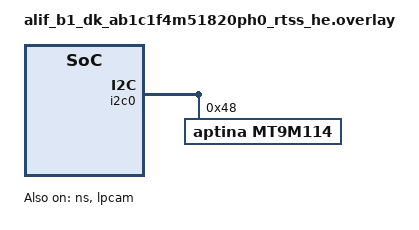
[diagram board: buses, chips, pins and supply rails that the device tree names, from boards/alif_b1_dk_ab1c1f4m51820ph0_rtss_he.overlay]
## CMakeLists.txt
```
cmake_minimum_required(VERSION 3.20.0)

find_package(Zephyr REQUIRED HINTS $ENV{ZEPHYR_BASE})
project(video)

target_sources(app PRIVATE
	src/main.c
	src/video_api.c
	src/video_common.c
)

# OV5640-only suite: omitted entirely on MT9M114 / ARX3A0 builds so those
# boards never see skipped ov5640_* tests in the ztest summary.
if(CONFIG_DT_HAS_OVTI_OV5640_ENABLED)
	target_sources(app PRIVATE src/video_test_ov5640.c)
endif()
```

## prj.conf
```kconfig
CONFIG_ZTEST=y
CONFIG_POLL=y
CONFIG_VIDEO=y
CONFIG_LOG=y
CONFIG_PRINTK=y
CONFIG_STDOUT_CONSOLE=y
CONFIG_I2C_TARGET=y
CONFIG_I2C=y
CONFIG_I2C_DW_CLOCK_SPEED=100
CONFIG_SYS_HEAP_AUTO=y
CONFIG_VIDEO_LOG_LEVEL_DBG=n
```

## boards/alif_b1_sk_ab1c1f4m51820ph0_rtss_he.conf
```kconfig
#CONFIG_VIDEO_BUFFER_POOL_SZ_MAX=524288
#CONFIG_VIDEO_BUFFER_POOL_SZ_MAX=655360
CONFIG_VIDEO_BUFFER_POOL_SZ_MAX=262144
CONFIG_VIDEO_BUFFER_POOL_NUM_MAX=2
CONFIG_REGULATOR=y
CONFIG_REGULATOR_FIXED=y
```

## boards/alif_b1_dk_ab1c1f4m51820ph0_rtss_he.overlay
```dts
/* Copyright (C) 2026 Alif Semiconductor - All Rights Reserved.
 * Use, distribution and modification of this code is permitted under the
 * terms stated in the Alif Semiconductor Software License Agreement
 *
 * You should have received a copy of the Alif Semiconductor Software
 * License Agreement with this file. If not, please write to:
 * contact@alifsemi.com, or visit: https://alifsemi.com/license
 *
 */

#include <dt-bindings/pinctrl/balletto-pinctrl.h>
#include <dt-bindings/i2c/i2c.h>
#include <dt-bindings/gpio/gpio.h>
#include <dt-bindings/video/video-interfaces.h>

&ns {
	status = "okay";
	reg = <0x2002a000 DT_SIZE_K(768)>;
};

&i2c0 {
	status = "okay";

	mt9m114: mt9m114@48{
		compatible = "aptina,mt9m114";
		reg = <0x48>;
		status = "okay";

		port {
			mt9m114_ep_out: endpoint {
				bus-type = <VIDEO_BUS_TYPE_PARALLEL>;
				remote-endpoint-label = "lpcam_ep_in";
			};
		};
	};
};

&lpcam {
	status = "okay";
	cpi-interface = "parallel";
	ports {
		#address-cells = <1>;
		#size-cells = <0>;

		/* Camera Input Endpoint. For LP-CAM it is only camera */
		port@0 {
			reg = <0>;
			lpcam_ep_in: endpoint {
				remote-endpoint-label = "mt9m114_ep_out";
			};
		};

		/* Video buffer output endpoint. */
		port@1 {
			reg = <1>;
			cam_mem_ep_out: endpoint {
				remote-endpoint-label = "application";
			};
		};


	};
};
```

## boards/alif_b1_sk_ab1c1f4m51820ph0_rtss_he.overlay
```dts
/*
 * Copyright (C) Alif Semiconductor.
 * SPDX-License-Identifier: Apache-2.0
 */

#include <dt-bindings/pinctrl/balletto-pinctrl.h>
#include <dt-bindings/i2c/i2c.h>
#include <dt-bindings/gpio/gpio.h>
#include <dt-bindings/video/video-interfaces.h>

&ns {
	status = "okay";
};

&gpio1 {
	status = "okay";
};

&lpgpio {
	status = "okay";
};

&i2c1 {
	status = "okay";

	ov5640: ov5640@3c {
		compatible = "ovti,ov5640";
		reg = <0x3c>;
		status = "okay";
		reset-gpios = <&lpgpio 1 GPIO_ACTIVE_LOW>;
		powerdown-gpios = <&gpio1 3 GPIO_ACTIVE_HIGH>;

		port {
			lpcam_ep_out: endpoint {
				bus-type = <VIDEO_BUS_TYPE_PARALLEL>;
				remote-endpoint-label = "lpcam_ep_in";
			};
		};
	};
};

&lpcam {
	status = "okay";
	cpi-interface = "parallel";
	ports {
		#address-cells = <1>;
		#size-cells = <0>;

		/* Camera Input Endpoint. For LP-CAM it is only camera */
		port@0 {
			reg = <0>;
			lpcam_ep_in: endpoint {
				remote-endpoint-label = "lpcam_ep_out";
			};
		};

		/* Video buffer output endpoint. */
		port@1 {
			reg = <1>;
			cam_mem_ep_out: endpoint {
				remote-endpoint-label = "application";
			};
		};


	};
};
```

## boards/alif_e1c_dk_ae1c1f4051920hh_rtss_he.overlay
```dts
/* Copyright (C) 2026 Alif Semiconductor - All Rights Reserved.
 * Use, distribution and modification of this code is permitted under the
 * terms stated in the Alif Semiconductor Software License Agreement
 *
 * You should have received a copy of the Alif Semiconductor Software
 * License Agreement with this file. If not, please write to:
 * contact@alifsemi.com, or visit: https://alifsemi.com/license
 *
 */

#include <dt-bindings/pinctrl/balletto-pinctrl.h>
#include <dt-bindings/i2c/i2c.h>
#include <dt-bindings/gpio/gpio.h>
#include <dt-bindings/video/video-interfaces.h>

&ns {
	status = "okay";
};

&i2c0 {
	status = "okay";

	mt9m114: mt9m114@48{
		compatible = "aptina,mt9m114";
		reg = <0x48>;
		status = "okay";

		port {
			mt9m114_ep_out: endpoint {
				bus-type = <VIDEO_BUS_TYPE_PARALLEL>;
				remote-endpoint-label = "lpcam_ep_in";
			};
		};
	};
};

&lpcam {
	status = "okay";
	sensor = <&mt9m114>;
	ports {
		#address-cells = <1>;
		#size-cells = <0>;

		/* Camera Input Endpoint. For LP-CAM it is only camera */
		port@0 {
			reg = <0>;
			lpcam_ep_in: endpoint {
				remote-endpoint-label = "mt9m114_ep_out";
			};
		};

		/* Video buffer output endpoint. */
		port@1 {
			reg = <1>;
			cam_mem_ep_out: endpoint {
				remote-endpoint-label = "application";
			};
		};


	};
};
```

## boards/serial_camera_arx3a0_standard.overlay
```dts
/* Copyright (C) 2025 Alif Semiconductor - All Rights Reserved.
 * Use, distribution and modification of this code are permitted under the
 * terms stated in the Alif Semiconductor Software License Agreement.
 *
 * You should have received a copy of the Alif Semiconductor Software
 * License Agreement with this file. If not, please write to:
 * contact@alifsemi.com, or visit: https://alifsemi.com/license
 */

#include <dt-bindings/pinctrl/ensemble-pinctrl.h>
#include <dt-bindings/i2c/i2c.h>
#include <dt-bindings/gpio/gpio.h>
#include <dt-bindings/video/video-interfaces.h>

&i2c1 {
	status = "okay";
};

&gpio7 {
	status = "okay";
};

&gpio13 {
	status = "okay";
};

&gpio14 {
	status = "okay";
};

/{
	i2c_mux: i2c-mux {
		compatible = "gpio-i2c-mux";
		status = "okay";
		#address-cells = <1>;
		#size-cells = <0>;

		i2c-inst = <&i2c1>;

		ctrl-gpios = <&gpio14 3 GPIO_ACTIVE_HIGH>;

		mux_i2c@1 {
			compatible = "gpio-i2c-mux-channel";
			reg = <1>;

			#address-cells = <1>;
			#size-cells = <0>;

			arx3a0_standard: arx3a0_standard@36 {
				compatible = "onnn,arx3a0";
				reg = <0x36>;

				reset-gpios = <&gpio13 0 GPIO_ACTIVE_HIGH>;
				power-gpios = <&gpio7 5 GPIO_ACTIVE_HIGH>;

				status = "okay";

				port {
					arx3a0_csi2_ep_out1: endpoint {
						bus-type = <VIDEO_BUS_TYPE_CSI2_DPHY>;
						link-frequencies = < 400000000 >;
						data-lanes = <1 2>;
						clock-lane = <0>;

						remote-endpoint-label = "csi2_ep_in1";
					};
				};
			};
		};
	};
};

&cam {
	status = "okay";

	pinctrl-0 = <&pinctrl_cam_xvclk>;
	pinctrl-names = "default";

	ports {
		#address-cells = <1>;
		#size-cells = <0>;

		/* MIPI CSI-2 bus endpoint. */
		port@0 {
			reg = <0>;
			cam_csi2_ep_in: endpoint {
				remote-endpoint-label = "csi2_ep_out";
			};
		};

		/* Video buffer output endpoint. */
		port@1 {
			reg = <1>;
			cam_mem_ep_out: endpoint {
				remote-endpoint-label = "application";
			};
		};
	};
};

&csi {
	status = "okay";

	/* Standard camera D-PHY*/
	phy-if = <&dphy 1>;
	ports {
		#address-cells = <1>;
		#size-cells = <0>;
		port@1 {
			reg = <1>;
			csi2_ep_in1: endpoint {
				bus-type = <VIDEO_BUS_TYPE_CSI2_DPHY>;
				data-lanes = <1 2>;
				clock-lane = <0>;

				remote-endpoint-label = "arx3a0_csi2_ep_out1";
			};
		};
		port@2 {
			reg = <2>;
			csi2_ep_out: endpoint {
				remote-endpoint-label = "cam_csi2_ep_in";
				bus-type = <VIDEO_BUS_TYPE_PARALLEL>;
			};
		};
	};
};

&mipi_dsi {
	status = "okay";
};
&mw405 {
	status = "disabled";
};
```

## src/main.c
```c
/*
 * Copyright (C) Alif Semiconductor.
 * SPDX-License-Identifier: Apache-2.0
 */

#include <soc_common.h>
#include <se_service.h>
#include <zephyr/drivers/gpio.h>

#include <string.h>

#include "video_common.h"

#ifdef CONFIG_DT_HAS_HIMAX_HM0360_ENABLED
#include <zephyr/drivers/regulator.h>
#include <zephyr/drivers/video/hm0360-video-controls.h>
#endif /* CONFIG_DT_HAS_HIMAX_HM0360_ENABLED */

#ifdef CONFIG_POLL
struct k_thread signal_thread;
struct k_poll_signal signal;
struct k_poll_event event;

#define STACKSIZE 1024
K_THREAD_STACK_DEFINE(thread_stack, 1024);
#endif
LOG_MODULE_REGISTER(video_app, LOG_LEVEL_INF);
const struct device *video;

#if (CONFIG_VIDEO_ALIF_CAM_EXTENDED && CONFIG_VIDEO_MIPI_CSI2_DW)
uint8_t current_sensor_main;
#endif /* CONFIG_VIDEO_ALIF_CAM_EXTENDED */

#if ISP_ENABLED
enum logging_level {
	LOGGING_LEVEL_NONE = 0,
	LOGGING_LEVEL_ERR,
	LOGGING_LEVEL_WARN,
	LOGGING_LEVEL_INFO,
	LOGGING_LEVEL_DEBUG,
	LOGGING_LEVEL_VERBOSE,
};

#define LIB_LOG_LEVEL LOGGING_LEVEL_NONE

int log_level(void)
{
	return LIB_LOG_LEVEL;
}
#endif

/*
 * Test Case to Capture Image
 */

ZTEST(cpi_manual_testcase, video_test_image_capture)
{
	struct video_buffer *buffers[CONFIG_VIDEO_BUFFER_POOL_NUM_MAX], *vbuf;
	struct video_format fmt = { 0 };
	struct video_caps caps[NUM_CAMS];
	enum video_endpoint_id ep;
	unsigned int frame = 0;
	size_t bsize;
	int i;
	int ret;
	int loop_ctr;

	/* `video` is acquired and validated by manual_suite_before(). */
	TC_PRINT("- Device name: %s\n", video->name);
	for (loop_ctr = NUM_CAMS - 1; loop_ctr >= 0; loop_ctr--) {
		/* Reset per-camera iteration state: format accumulator and
		 * the caps-walk index must not leak across cameras, else the
		 * second pass would skip formats or walk past the end.
		 */
		i = 0;
		memset(&fmt, 0, sizeof(fmt));
#if (CONFIG_VIDEO_ALIF_CAM_EXTENDED && CONFIG_VIDEO_MIPI_CSI2_DW)
		ret = video_get_ctrl(video, VIDEO_CID_ALIF_CSI_CURR_CAM, &current_sensor_main);
		zassert_equal(ret, 0, "Failed to get current camera: %d", ret);
		LOG_INF("Selected camera: %s", (current_sensor_main) ? "Standard" : "Selfie");
#endif /* CONFIG_VIDEO_ALIF_CAM_EXTENDED */
		ep = CAPTURE_EP;
	/* Get capabilities error check*/
	zassert_false(video_get_caps(video, ep, &caps[loop_ctr]),
					"Unable to retrieve video capabilities");

	TC_PRINT("- Capabilities:\n");
	while (caps[loop_ctr].format_caps[i].pixelformat) {
		const struct video_format_cap *fcap = &caps[loop_ctr].format_caps[i];
		/* fourcc to string */
		TC_PRINT("  %c%c%c%c width (min, max, step)[%u; %u; %u] "
			"height (min, max, step)[%u; %u; %u]\n",
		       (char)fcap->pixelformat,
		       (char)(fcap->pixelformat >> 8),
		       (char)(fcap->pixelformat >> 16),
		       (char)(fcap->pixelformat >> 24),
		       fcap->width_min, fcap->width_max, fcap->width_step,
		       fcap->height_min, fcap->height_max, fcap->height_step);

		if (fcap->pixelformat == PIPELINE_FORMAT) {
			fmt.pixelformat = PIPELINE_FORMAT;
#ifdef CONFIG_DT_HAS_OVTI_OV5640_ENABLED
			fmt.width = SENSOR_WIDTH;
			fmt.height = SENSOR_HEIGHT;
#else
			fmt.width = fcap->width_min;
			fmt.height = fcap->height_min;
#endif
			fmt.pitch = fourcc_to_pitch(fmt.pixelformat, fmt.width);
		}
		i++;
	}

	zassert_not_equal(fmt.pixelformat, 0, "Desired Pixel format is not supported.");
	ret = video_set_capture_format(video, &fmt);
	zassert_equal(ret, 0, "video_set_capture_format failed: %d", ret);
#if (CONFIG_VIDEO_ALIF_CAM_EXTENDED && CONFIG_VIDEO_MIPI_CSI2_DW)
		if (NUM_CAMS > 1) {
			current_sensor_main ^= 1;
			ret = video_set_ctrl(video, VIDEO_CID_ALIF_CSI_CURR_CAM,
					&current_sensor_main);
			if (ret) {
				LOG_ERR("Unable to switch camera!");
			}
		}
#endif /* CONFIG_VIDEO_ALIF_CAM_EXTENDED */
	}
#if (ISP_ENABLED)
	zassert_false(fmt.pixelformat != OUTPUT_FORMAT, "Unsupported pixel format. fmt - %c%c%c%c",
		(char)fmt.pixelformat,
		(char)(fmt.pixelformat >> 8),
		(char)(fmt.pixelformat >> 16),
		(char)(fmt.pixelformat >> 24));
#else
	zassert_false(fmt.pixelformat != PIPELINE_FORMAT, "Unsupported pixel format. fmt "
		" - %c%c%c%c",
		(char)fmt.pixelformat,
		(char)(fmt.pixelformat >> 8),
		(char)(fmt.pixelformat >> 16),
		(char)(fmt.pixelformat >> 24));
#endif
	TC_PRINT("- format: %c%c%c%c %ux%u\n", (char)fmt.pixelformat,
	       (char)(fmt.pixelformat >> 8),
	       (char)(fmt.pixelformat >> 16),
	       (char)(fmt.pixelformat >> 24),
	       fmt.width, fmt.height);

	/* Size to allocate for each buffer */

	bsize = fmt.pitch * fmt.height;
	TC_PRINT("Width - %d, Pitch - %d, Height - %d, Buff size - %d\n",
			fmt.width, fmt.pitch, fmt.height, bsize);

#if (CONFIG_VIDEO_ALIF_CAM_EXTENDED && CONFIG_VIDEO_MIPI_CSI2_DW)
		if (NUM_CAMS > 1) {
			current_sensor_main = 0;
			ret = video_set_ctrl(video, VIDEO_CID_ALIF_CSI_CURR_CAM,
					&current_sensor_main);
			if (ret) {
				LOG_ERR("Unable to switch camera!");
			}
		}
#endif /* CONFIG_VIDEO_ALIF_CAM_EXTENDED */

	/* Alloc video buffers and enqueue for capture */

	for (i = 0; i < ARRAY_SIZE(buffers); i++) {
		buffers[i] = video_buffer_aligned_alloc(bsize,
			CONFIG_VIDEO_BUFFER_POOL_ALIGN, K_NO_WAIT);
		zassert_not_null(buffers[i],
				"Unable to alloc video buffer %d", i);

		/* Allocated Buffer Information */

		TC_PRINT("- addr - 0x%x, size - %d, bytesused - %d\n",
			(uint32_t)buffers[i]->buffer,
			bsize,
			buffers[i]->bytesused);
		memset(buffers[i]->buffer, 0, sizeof(char) * bsize);
		ret = video_enqueue(video, VIDEO_EP_OUT, buffers[i]);
		zassert_equal(ret, 0, "video_enqueue buf %d failed: %d", i, ret);
		TC_PRINT("capture buffer[%d]: dump binary memory "
			"\"/home/$USER/path/capture_%d.bin\" 0x%08x 0x%08x -r\n\n",
			i, i, (uint32_t)buffers[i]->buffer,
			(uint32_t)buffers[i]->buffer + bsize - 1);
	}

	/* Start video capture */

	ret = video_stream_start(video);
	zassert_equal(ret, 0, "video_stream_start failed: %d", ret);
	TC_PRINT("Capture started\n");
	for (int f = 0; f < 1; f++) {
		ret = video_dequeue(video, VIDEO_EP_OUT, &vbuf, K_FOREVER);
		zassert_equal(ret, 0, "video_dequeue failed: %d", ret);
		TC_PRINT("\rGot frame %u! size: %u; timestamp %u ms\n",
		       frame++, vbuf->bytesused, vbuf->timestamp);
		zassert_true(vbuf->bytesused > 0,
			"bytesused is 0 — frame is empty");
		zassert_equal(vbuf->bytesused, bsize,
			"bytesused %u != expected bsize %u",
			vbuf->bytesused, (uint32_t)bsize);
		ret = video_enqueue(video, VIDEO_EP_OUT, vbuf);
		zassert_equal(ret, 0, "video_enqueue (re) failed: %d", ret);
	}

	k_msleep(10);

	LOG_INF("Calling video flush.");
	ret = video_flush(video, VIDEO_EP_OUT, false);
	zassert_equal(ret, 0, "video_flush failed: %d", ret);
	LOG_INF("Calling video stream stop.");
	ret = video_stream_stop(video);
	zassert_equal(ret, 0, "video_stream_stop failed: %d", ret);

	/*
	 * Drain any buffers left in the driver fifos and return them to the
	 * pool. Called with cancel=false, which per the Zephyr video API
	 * means "wait for completion" rather than "abort" — relying on the
	 * Alif CPI flush implementation draining fifo_in → fifo_out
	 * synchronously so the K_NO_WAIT dequeue loop below sees every
	 * buffer.
	 */
	for (i = 0; i < ARRAY_SIZE(buffers); i++) {
		struct video_buffer *drained = NULL;

		ret = video_dequeue(video, VIDEO_EP_OUT, &drained, K_NO_WAIT);
		zassert_equal(ret, 0, "video_dequeue failed: %d", ret);
		if (drained) {
			video_buffer_release(drained);
		}
	}
	k_msleep(500);
}

#ifdef CONFIG_POLL

void test_signal_thread(void *arg1, void *arg2, void *arg3)
{
	int signaled, result;

	k_poll_event_init(&event, K_POLL_TYPE_SIGNAL, K_POLL_MODE_NOTIFY_ONLY, &signal);
	while (1) {
		k_poll(&event, 1, K_FOREVER);
		k_poll_signal_check(&signal, &signaled, &result);
		if (signaled) {
			switch (result) {
			case VIDEO_BUF_DONE:
				LOG_INF("Buffer captured correctly!");
				break;
			case VIDEO_BUF_ABORTED:
				LOG_INF("Flush operation with Abort completed successfully!");
				break;
			case VIDEO_BUF_ERROR:
				LOG_ERR("Issues with currently captured buffer. Will recapture. "
						"If problem persists, check timings!");
				break;
			}
			k_poll_signal_reset(&signal);
		}
	}
}
#endif

/* video_api_set_signal
 */
ZTEST(cpi_manual_testcase, video_api_set_signal)
{
	struct video_caps caps;
#ifdef CONFIG_POLL
	int ret;
#endif

	/* `video` is acquired and validated by manual_suite_before(). */
	TC_PRINT("- Device name: %s\n", video->name);
#ifdef CONFIG_POLL
	k_poll_signal_init(&signal);
	ret = video_set_signal(video, VIDEO_EP_OUT, &signal);
	zassert_equal(ret, 0, "Failed to set signal");
	k_thread_create(&signal_thread, thread_stack,
					K_THREAD_STACK_SIZEOF(thread_stack), test_signal_thread,
					NULL, NULL, NULL, 7, 0, K_NO_WAIT);
#endif
	/* Get capabilities error check*/
	zassert_false(video_get_caps(video, VIDEO_EP_OUT, &caps),
					"Unable to retrieve video capabilities");
}


/*
 * Test: capture N_FRAMES frames and verify each has non-zero bytesused
 * and monotonically non-decreasing timestamps.
 */
ZTEST(cpi_manual_testcase, video_z_capture_n_frames)
{
	struct video_buffer *buffers_z[CONFIG_VIDEO_BUFFER_POOL_NUM_MAX], *vbuf;
	struct video_format fmt = { 0 };
	struct video_caps caps;
	enum video_endpoint_id ep;
	size_t bsize;
	int i = 0;
	int ret;
	uint32_t prev_ts = 0;
	unsigned int frame = 0;

	/* `video` is acquired and validated by manual_suite_before(). */
	TC_PRINT("- Device name: %s\n", video->name);
	ep = CAPTURE_EP;

#if (CONFIG_VIDEO_ALIF_CAM_EXTENDED && CONFIG_VIDEO_MIPI_CSI2_DW)
		ret = video_get_ctrl(video, VIDEO_CID_ALIF_CSI_CURR_CAM, &current_sensor_main);
		zassert_equal(ret, 0,
				"video_get_ctrl(VIDEO_CID_ALIF_CSI_CURR_CAM) failed: %d", ret);
		LOG_INF("Selected camera: %s", (current_sensor_main) ? "Standard" : "Selfie");
#endif /* CONFIG_VIDEO_ALIF_CAM_EXTENDED */

	zassert_false(video_get_caps(video, ep, &caps),
		"Unable to retrieve video capabilities");

	while (caps.format_caps[i].pixelformat) {
		const struct video_format_cap *fcap = &caps.format_caps[i];

		if (fcap->pixelformat == PIPELINE_FORMAT) {
			fmt.pixelformat = PIPELINE_FORMAT;
#ifdef CONFIG_DT_HAS_OVTI_OV5640_ENABLED
			fmt.width = SENSOR_WIDTH;
			fmt.height = SENSOR_HEIGHT;
#else
			fmt.width = fcap->width_min;
			fmt.height = fcap->height_min;
#endif
			fmt.pitch = fourcc_to_pitch(fmt.pixelformat, fmt.width);
		}
		i++;
	}
	zassert_not_equal(fmt.pixelformat, 0, "Desired pixel format not supported.");

	ret = video_set_capture_format(video, &fmt);
	zassert_equal(ret, 0, "video_set_capture_format failed: %d", ret);

#if (CONFIG_VIDEO_ALIF_CAM_EXTENDED && CONFIG_VIDEO_MIPI_CSI2_DW)
		if (NUM_CAMS > 1) {
			current_sensor_main ^= 1;
			ret = video_set_ctrl(video, VIDEO_CID_ALIF_CSI_CURR_CAM,
					&current_sensor_main);
			if (ret) {
				LOG_ERR("Unable to switch camera!");
			}
		}
#endif /* CONFIG_VIDEO_ALIF_CAM_EXTENDED */
#if (ISP_ENABLED)
	zassert_false(fmt.pixelformat != OUTPUT_FORMAT, "Unsupported pixel format. fmt - %c%c%c%c",
		(char)fmt.pixelformat,
		(char)(fmt.pixelformat >> 8),
		(char)(fmt.pixelformat >> 16),
		(char)(fmt.pixelformat >> 24));
#else
	zassert_false(fmt.pixelformat != PIPELINE_FORMAT, "Unsupported pixel format. fmt "
		" - %c%c%c%c",
		(char)fmt.pixelformat,
		(char)(fmt.pixelformat >> 8),
		(char)(fmt.pixelformat >> 16),
		(char)(fmt.pixelformat >> 24));
#endif
	TC_PRINT("- format: %c%c%c%c %ux%u\n", (char)fmt.pixelformat,
	       (char)(fmt.pixelformat >> 8),
	       (char)(fmt.pixelformat >> 16),
	       (char)(fmt.pixelformat >> 24),
	       fmt.width, fmt.height);

	/* Size to allocate for each buffer */

	bsize = fmt.pitch * fmt.height;
	TC_PRINT("Width - %d, Pitch - %d, Height - %d, Buff size - %d\n",
			fmt.width, fmt.pitch, fmt.height, bsize);

#if (CONFIG_VIDEO_ALIF_CAM_EXTENDED && CONFIG_VIDEO_MIPI_CSI2_DW)
		if (NUM_CAMS > 1) {
			current_sensor_main = 0;
			ret = video_set_ctrl(video, VIDEO_CID_ALIF_CSI_CURR_CAM,
					&current_sensor_main);
			if (ret) {
				LOG_ERR("Unable to switch camera!");
			}
		}
#endif /* CONFIG_VIDEO_ALIF_CAM_EXTENDED */
	/* Alloc video buffers and enqueue for capture */

	for (i = 0; i < ARRAY_SIZE(buffers_z); i++) {
		buffers_z[i] = video_buffer_aligned_alloc(bsize,
				CONFIG_VIDEO_BUFFER_POOL_ALIGN, K_NO_WAIT);
		zassert_not_null(buffers_z[i], "Unable to alloc video buffer %d", i);

		/* Allocated Buffer Information */
		LOG_INF("- addr - 0x%x, size - %d, bytesused - %d",
			(uint32_t)buffers_z[i]->buffer,
			bsize,
			buffers_z[i]->bytesused);

		memset(buffers_z[i]->buffer, 0, bsize);
		ret = video_enqueue(video, VIDEO_EP_OUT, buffers_z[i]);
		zassert_equal(ret, 0, "Enqueue failed for buffer %d: %d", i, ret);
	}

	ret = video_stream_start(video);
	zassert_equal(ret, 0, "stream_start failed: %d", ret);
	TC_PRINT("Capture started — expecting %d frames\n", N_FRAMES);

	for (int f = 0; f < N_FRAMES; f++) {
		ret = video_dequeue(video, VIDEO_EP_OUT, &vbuf, K_FOREVER);
		zassert_equal(ret, 0, "dequeue failed at frame %d: %d", f, ret);

		TC_PRINT("Frame %u: bytesused=%u timestamp=%u ms\n",
			frame, vbuf->bytesused, vbuf->timestamp);

		zassert_true(vbuf->bytesused > 0,
			"Frame %d: bytesused is 0 (empty frame)", f);
		zassert_true(vbuf->timestamp >= prev_ts,
			"Frame %d: non-monotonic timestamp %u < prev %u",
			f, vbuf->timestamp, prev_ts);

		prev_ts = vbuf->timestamp;
		frame++;

		ret = video_enqueue(video, VIDEO_EP_OUT, vbuf);
		zassert_equal(ret, 0, "Re-enqueue failed at frame %d: %d", f, ret);
	}

	TC_PRINT("All %d frames captured successfully\n", N_FRAMES);
	k_msleep(10);

	ret = video_stream_stop(video);
	zassert_equal(ret, 0, "video_stream_stop failed: %d", ret);
	ret = video_flush(video, VIDEO_EP_OUT, false);
	zassert_equal(ret, 0, "video_flush failed: %d", ret);

	for (i = 0; i < ARRAY_SIZE(buffers_z); i++) {
		struct video_buffer *drained = NULL;

		ret = video_dequeue(video, VIDEO_EP_OUT, &drained, K_NO_WAIT);
		zassert_equal(ret, 0,
			"Cleanup dequeue failed at buf %d: %d", i, ret);
		zassert_not_null(drained,
			"Cleanup dequeue returned NULL buffer at %d", i);
		video_buffer_release(drained);
	}
}

/*
 * Do application configurations.
 */
static int app_set_parameters(void)
{
	run_profile_t runp;
	int ret;

#if (CONFIG_VIDEO_MIPI_CSI2_DW)
#if (DT_NODE_HAS_STATUS(DT_NODELABEL(camera_select), okay))
	const struct gpio_dt_spec sel =
		GPIO_DT_SPEC_GET(DT_NODELABEL(camera_select), select_gpios);

	gpio_pin_configure_dt(&sel, GPIO_OUTPUT);
	gpio_pin_set_dt(&sel, 1);
#endif /* DT_NODE_HAS_STATUS(DT_NODELABEL(camera_sensor), okay) */
#endif

	/* Enable HFOSC (38.4 MHz) and CFG (100 MHz) clock. */
#if defined(CONFIG_SOC_SERIES_E8)
	sys_set_bits(CGU_CLK_ENA, BIT(23) | BIT(7));
#else
	sys_set_bits(CGU_CLK_ENA, BIT(23) | BIT(21));
#endif /* defined (CONFIG_SOC_SERIES_E7) */

	runp.power_domains = PD_SYST_MASK | PD_SSE700_AON_MASK | PD_DBSS_MASK;
	runp.dcdc_voltage  = 825;
	runp.dcdc_mode     = DCDC_MODE_PWM;
	runp.aon_clk_src   = CLK_SRC_LFXO;
	runp.run_clk_src   = CLK_SRC_PLL;
	runp.vdd_ioflex_3V3 = IOFLEX_LEVEL_1V8;
#if defined(CONFIG_RTSS_HP)
	runp.cpu_clk_freq  = CLOCK_FREQUENCY_400MHZ;
#else
	runp.cpu_clk_freq  = CLOCK_FREQUENCY_160MHZ;
#endif

	runp.memory_blocks = MRAM_MASK;
#if DT_NODE_EXISTS(DT_NODELABEL(sram0))
	runp.memory_blocks |= SRAM0_MASK;
#endif

	runp.phy_pwr_gating |= MIPI_TX_DPHY_MASK | MIPI_RX_DPHY_MASK |
		MIPI_PLL_DPHY_MASK | LDO_PHY_MASK;
	runp.ip_clock_gating = CAMERA_MASK | MIPI_CSI_MASK | MIPI_DSI_MASK;

	ret = se_service_set_run_cfg(&runp);
	__ASSERT(ret == 0, "SE: set_run_cfg failed = %d", ret);

	/*
	 * CPI Pixel clock - Generate XVCLK. Used by ARX3A0
	 * TODO: parse this clock from DTS and set on board from camera
	 * controller driver.
	 */
#if defined(CONFIG_VIDEO_MIPI_CSI2_DW)
	sys_write32(0x140001, CLKCTRL_PER_MST_CAMERA_PIXCLK_CTRL);
#endif

#if (DT_NODE_HAS_STATUS(DT_NODELABEL(lpcam), okay))
	/* Enable LPCAM controller Pixel Clock (XVCLK). */
	/*
	 * Not needed for the time being as LP-CAM supports only
	 * parallel data-mode of capture and only MT9M114 sensor is
	 * tested with parallel data capture which generates clock
	 * internally. But can be used to generate XVCLK from LP CAM
	 * controller.
	 * sys_write32(0x140001, M55HE_CFG_HE_CAMERA_PIXCLK);
	 */
#endif
	return 0;
}


static void *cpi_manual_setup(void)
{
	cam_supply_on();
	return NULL;
}

static void cpi_manual_teardown(void *data)
{
	ARG_UNUSED(data);
	cam_supply_off();
}

ZTEST_SUITE(cpi_manual_testcase, NULL, cpi_manual_setup, manual_suite_before, NULL,
	    cpi_manual_teardown);
ZTEST_SUITE(cpi_api_testcase, NULL, api_suite_setup, manual_suite_before, NULL,
	    api_suite_teardown);

SYS_INIT(app_set_parameters, PRE_KERNEL_1, 46);
```

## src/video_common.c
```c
/* Copyright (C) 2026 Alif Semiconductor - All Rights Reserved.
 * Use, distribution and modification of this code is permitted under the
 * terms stated in the Alif Semiconductor Software License Agreement
 *
 * You should have received a copy of the Alif Semiconductor Software
 * License Agreement with this file. If not, please write to:
 * contact@alifsemi.com, or visit: https://alifsemi.com/license
 */

#include "video_common.h"

LOG_MODULE_DECLARE(video_app);

#ifdef CONFIG_DT_HAS_OVTI_OV5640_ENABLED
const struct device *cam_enbuf;
static int cam_supply_refs;
#endif

void cam_supply_on(void)
{
#ifdef CONFIG_DT_HAS_OVTI_OV5640_ENABLED
	cam_enbuf = DEVICE_DT_GET(DT_NODELABEL(cam_enbuf));
	zassert_true(device_is_ready(cam_enbuf), "%s: device not ready.",
		     cam_enbuf->name);
	zassert_equal(regulator_enable(cam_enbuf), 0,
		      "Failed to enable regulator");
	cam_supply_refs++;
#endif
}

void cam_supply_off(void)
{
#ifdef CONFIG_DT_HAS_OVTI_OV5640_ENABLED
	if (cam_supply_refs == 0 || cam_enbuf == NULL) {
		return;
	}

	/* Teardown must not zassert: a failure there aborts the runner. */
	if (regulator_disable(cam_enbuf) == 0) {
		cam_supply_refs--;
	}
#endif
}

int fourcc_to_pitch(uint32_t fourcc, uint32_t width)
{
	int pitch;

	switch (fourcc) {
	case VIDEO_PIX_FMT_RGB888_PLANAR_PRIVATE:
	case VIDEO_PIX_FMT_NV24:
	case VIDEO_PIX_FMT_NV42:
		pitch = width * 3;
		break;
	case VIDEO_PIX_FMT_RGB565:
	case VIDEO_PIX_FMT_Y10P:
	case VIDEO_PIX_FMT_BGGR10:
	case VIDEO_PIX_FMT_GBRG10:
	case VIDEO_PIX_FMT_GRBG10:
	case VIDEO_PIX_FMT_RGGB10:
	case VIDEO_PIX_FMT_BGGR12:
	case VIDEO_PIX_FMT_GBRG12:
	case VIDEO_PIX_FMT_GRBG12:
	case VIDEO_PIX_FMT_RGGB12:
	case VIDEO_PIX_FMT_BGGR14:
	case VIDEO_PIX_FMT_GBRG14:
	case VIDEO_PIX_FMT_GRBG14:
	case VIDEO_PIX_FMT_RGGB14:
	case VIDEO_PIX_FMT_BGGR16:
	case VIDEO_PIX_FMT_GBRG16:
	case VIDEO_PIX_FMT_GRBG16:
	case VIDEO_PIX_FMT_RGGB16:
	case VIDEO_PIX_FMT_Y10:
	case VIDEO_PIX_FMT_Y12:
	case VIDEO_PIX_FMT_Y14:
	case VIDEO_PIX_FMT_YUYV:
	case VIDEO_PIX_FMT_YVYU:
	case VIDEO_PIX_FMT_VYUY:
	case VIDEO_PIX_FMT_UYVY:
	case VIDEO_PIX_FMT_NV16:
	case VIDEO_PIX_FMT_NV61:
	case VIDEO_PIX_FMT_YUV422P:
		pitch = width << 1;
		break;
	case VIDEO_PIX_FMT_NV12:
	case VIDEO_PIX_FMT_NV21:
	case VIDEO_PIX_FMT_YUV420:
	case VIDEO_PIX_FMT_YVU420:
		pitch = (width * 3) >> 1;
		break;
	case VIDEO_PIX_FMT_BGGR8:
	case VIDEO_PIX_FMT_GBRG8:
	case VIDEO_PIX_FMT_GRBG8:
	case VIDEO_PIX_FMT_RGGB8:
	case VIDEO_PIX_FMT_GREY:
	default:
		pitch = width;
		break;
	}

	return pitch;
}

int video_set_capture_format(const struct device *dev, struct video_format *fmt)
{
	int ret;

	ret = video_set_format(dev, CAPTURE_EP, fmt);
	if (ret) {
		LOG_ERR("video_set_format on CAPTURE_EP (ep=%d) failed: %d",
			CAPTURE_EP, ret);
		return ret;
	}

#if ISP_ENABLED
	/* On ISP-enabled builds the application sees OUTPUT_FORMAT on EP_OUT,
	 * not the raw sensor format on EP_IN. Rewrite *fmt so the caller's
	 * buffer-size math (pitch * height) targets the ISP output, then set
	 * that format on EP_OUT.
	 */
	fmt->pixelformat = OUTPUT_FORMAT;
	fmt->width       = ISP_OUTPUT_WIDTH;
	fmt->height      = ISP_OUTPUT_HEIGHT;
	fmt->pitch       = fourcc_to_pitch(fmt->pixelformat, fmt->width);

	ret = video_set_format(dev, VIDEO_EP_OUT, fmt);
	if (ret) {
		LOG_ERR("video_set_format on VIDEO_EP_OUT failed: %d", ret);
		return ret;
	}
#endif /* ISP_ENABLED */

	return 0;
}

void manual_suite_before(void *fixture)
{
	ARG_UNUSED(fixture);
	uintptr_t regs;

#if ISP_ENABLED
	video = DEVICE_DT_GET_ONE(vsi_isp_pico);
#else
	video = DEVICE_DT_GET_ONE(alif_cam);
#endif
	zassert_true(device_is_ready(video), "%s: device not ready.", video->name);

	regs = DEVICE_MMIO_GET(video);
	if (sys_read32(regs + CAM_CTRL) & CAM_CTRL_BUSY) {
		LOG_ERR("Can't start stream. Already Capturing!");
		video_stream_stop(video);
		k_msleep(20);
	}
}
```

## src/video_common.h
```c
/* Copyright (C) 2026 Alif Semiconductor - All Rights Reserved.
 * Use, distribution and modification of this code is permitted under the
 * terms stated in the Alif Semiconductor Software License Agreement
 *
 * You should have received a copy of the Alif Semiconductor Software
 * License Agreement with this file. If not, please write to:
 * contact@alifsemi.com, or visit: https://alifsemi.com/license
 */

#ifndef ALIF_CPI_TEST_VIDEO_COMMON_H_
#define ALIF_CPI_TEST_VIDEO_COMMON_H_

#include <zephyr/kernel.h>
#include <zephyr/device.h>
#include <zephyr/drivers/video.h>
#include <zephyr/drivers/video/video_alif.h>
#include <zephyr/logging/log.h>
#include <zephyr/ztest.h>

#ifdef CONFIG_DT_HAS_OVTI_OV5640_ENABLED
#include <zephyr/drivers/regulator.h>
extern const struct device *cam_enbuf;
#endif

/* CAM controller register offsets / bits used by test suite hooks. */
#define CAM_CTRL		0x00
#define CAM_CTRL_BUSY		BIT(2)

#define N_FRAMES		10
#define N_VID_BUFF		MIN(CONFIG_VIDEO_BUFFER_POOL_NUM_MAX, N_FRAMES)

#define ISP_ENABLED		DT_NODE_HAS_STATUS_OKAY(DT_NODELABEL(isp))

/*
 * Endpoint on which the sensor/pipeline pixel format (PIPELINE_FORMAT) is
 * negotiated and configured:
 *   - Direct-CAM  (ISP disabled): sensor feeds EP_OUT directly.
 *   - ISP-enabled: sensor feeds ISP at EP_IN; EP_OUT carries OUTPUT_FORMAT.
 */
#if ISP_ENABLED
#define CAPTURE_EP		VIDEO_EP_IN
#else
#define CAPTURE_EP		VIDEO_EP_OUT
#endif

#ifdef CONFIG_DT_HAS_HIMAX_HM0360_ENABLED
#define PIPELINE_FORMAT		VIDEO_PIX_FMT_BGGR8
#elif CONFIG_DT_HAS_OVTI_OV5640_ENABLED
#define PIPELINE_FORMAT		VIDEO_PIX_FMT_RGB565
#define SENSOR_WIDTH	160
#define SENSOR_HEIGHT	120
#elif CONFIG_DT_HAS_APTINA_MT9M114_ENABLED
#define PIPELINE_FORMAT		VIDEO_PIX_FMT_GREY
#else
#define PIPELINE_FORMAT		VIDEO_PIX_FMT_Y10P
#endif

#if ISP_ENABLED
#define OUTPUT_FORMAT           VIDEO_PIX_FMT_RGB888_PLANAR_PRIVATE
/* Resolution presented to the application on VIDEO_EP_OUT when the ISP is in
 * the path. The ISP scaler down-samples the sensor frame to this size before
 * conversion to OUTPUT_FORMAT, so buffers enqueued on EP_OUT must be sized
 * for OUTPUT_FORMAT @ ISP_OUTPUT_WIDTH x ISP_OUTPUT_HEIGHT.
 */
#define ISP_OUTPUT_WIDTH        480
#define ISP_OUTPUT_HEIGHT       480
#endif

#if (CONFIG_VIDEO_ALIF_CAM_EXTENDED && CONFIG_VIDEO_MIPI_CSI2_DW)
#define NUM_CAMS		DT_PROP_LEN(DT_NODELABEL(csi), phy_if)
#else
#define NUM_CAMS		1
#endif

/* Shared device handle used by the manual test suite. */
extern const struct device *video;

/* Convert a fourcc pixel format to the pitch (bytes per row) for a given width. */
int fourcc_to_pitch(uint32_t fourcc, uint32_t width);


/**
 * Configure the capture pipeline format on the appropriate endpoint(s).
 *
 * On a direct-CAM build (ISP disabled), this calls
 *     video_set_format(dev, VIDEO_EP_OUT, fmt)
 * exactly once and leaves *fmt untouched.
 *
 * On an ISP-enabled build (e.g. arx3a0 + vsi,isp-pico), this:
 *   1. Sets the sensor / pipeline format on VIDEO_EP_IN (CAPTURE_EP),
 *   2. Rewrites *fmt in place to OUTPUT_FORMAT @ ISP_OUTPUT_WIDTH x
 *      ISP_OUTPUT_HEIGHT (with matching pitch),
 *   3. Sets that output format on VIDEO_EP_OUT.
 *
 * The in-place rewrite means callers can keep their existing
 * `bsize = fmt.pitch * fmt.height;` buffer-size math regardless of build
 * variant — `fmt` after the call always describes what EP_OUT expects.
 *
 * @param dev   video device handle (alif,cam on direct-CAM, vsi,isp-pico
 *              when the ISP is in the path).
 * @param fmt   on entry: pipeline format (PIPELINE_FORMAT, sensor-side
 *              w/h). On exit: identical on direct-CAM; OUTPUT_FORMAT
 *              dimensions on ISP-enabled builds.
 *
 * @return 0 on success, or the first non-zero return code from
 *         video_set_format().
 */
int video_set_capture_format(const struct device *dev,
			     struct video_format *fmt);

/* Suite "before" hook shared by manual + api test suites. */
void manual_suite_before(void *fixture);

/* OV5640 camera supply. One enable per suite setup, one disable per teardown.
 * No-ops when the OV5640 regulator is not in the build.
 */
void cam_supply_on(void);
void cam_supply_off(void);

/* cpi_api_testcase suite hooks (defined in video_api.c). */
void *api_suite_setup(void);
void api_suite_teardown(void *data);

#endif /* ALIF_CPI_TEST_VIDEO_COMMON_H_ */
```

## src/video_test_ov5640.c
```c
/* Copyright (C) 2026 Alif Semiconductor - All Rights Reserved.
 * Use, distribution and modification of this code is permitted under the
 * terms stated in the Alif Semiconductor Software License Agreement
 *
 * You should have received a copy of the Alif Semiconductor Software
 * License Agreement with this file. If not, please write to:
 * contact@alifsemi.com, or visit: https://alifsemi.com/license
 */

#include "video_common.h"

#include <errno.h>
#include <string.h>

#include <zephyr/drivers/video-controls.h>

/*
 * OV5640-only suite. Compiled only when CONFIG_DT_HAS_OVTI_OV5640_ENABLED
 * (see CMakeLists.txt). Other sensor builds never register these tests.
 *
 * Controls are issued on the sensor node (ov5640) so errno matches the
 * driver (alif,cam maps every set_ctrl failure to -ENOTSUP). Format is
 * programmed through the CAM pipeline so CPI FCFG stays in sync.
 *
 * set_ctrl takes the integer in the pointer bits, not a pointer-to-int:
 *     video_set_ctrl(dev, CID, (void *)value)
 */

static const struct device *ov5640_dev;

/* Buffer owned by ov5640_ctrl_test_pattern until it is released. The after
 * hook releases it when an assertion returns before the test's own cleanup.
 */
static struct video_buffer *ov5640_held;

static int ov5640_restore_default_fmt(void)
{
	struct video_format fmt = {
		.pixelformat = PIPELINE_FORMAT,
		.width = SENSOR_WIDTH,
		.height = SENSOR_HEIGHT,
		.pitch = fourcc_to_pitch(PIPELINE_FORMAT, SENSOR_WIDTH),
	};

	return video_set_capture_format(video, &fmt);
}

static void ov5640_restore_ctrls(void)
{
	(void)video_set_ctrl(ov5640_dev, VIDEO_CID_HFLIP, (void *)0);
	(void)video_set_ctrl(ov5640_dev, VIDEO_CID_VFLIP, (void *)0);
	(void)video_set_ctrl(ov5640_dev, VIDEO_CID_TEST_PATTERN, (void *)0);
	(void)video_set_ctrl(ov5640_dev, VIDEO_CID_BRIGHTNESS, (void *)0);
	(void)video_set_ctrl(ov5640_dev, VIDEO_CID_CONTRAST, (void *)0);
	(void)video_set_ctrl(ov5640_dev, VIDEO_CID_SATURATION, (void *)64);
	(void)video_set_ctrl(ov5640_dev, VIDEO_CID_GAIN, (void *)0);
	(void)video_set_ctrl(ov5640_dev, VIDEO_CID_POWER_LINE_FREQUENCY,
			     (void *)VIDEO_CID_POWER_LINE_FREQUENCY_AUTO);
}

void *ov5640_suite_setup(void)
{
	ov5640_dev = DEVICE_DT_GET(DT_NODELABEL(ov5640));
	zassert_true(device_is_ready(ov5640_dev),
		"%s: device not ready", ov5640_dev->name);
	cam_supply_on();
	return NULL;
}

void ov5640_suite_teardown(void *data)
{
	struct video_buffer *buf = NULL;

	ARG_UNUSED(data);

	video_stream_stop(video);
	k_msleep(20);
	video_flush(video, VIDEO_EP_OUT, true);
	while (video_dequeue(video, VIDEO_EP_OUT, &buf, K_NO_WAIT) == 0) {
		video_buffer_release(buf);
		buf = NULL;
	}

	ov5640_restore_ctrls();
	(void)ov5640_restore_default_fmt();
	cam_supply_off();
}

/* Runs after every case, including a failed assertion. stream_stop is a
 * no-op when the camera is already idle.
 */
static void ov5640_test_after(void *data)
{
	struct video_buffer *buf = NULL;
	uintptr_t regs;
	bool recover;

	ARG_UNUSED(data);

	if (video == NULL || !device_is_ready(video)) {
		goto release_held;
	}

	regs = DEVICE_MMIO_GET(video);
	recover = ((sys_read32(regs + CAM_CTRL) & CAM_CTRL_BUSY) != 0) ||
		  (ov5640_held != NULL);
	if (recover) {
		(void)video_stream_stop(video);
		k_msleep(20);
		(void)video_flush(video, VIDEO_EP_OUT, true);
		while (video_dequeue(video, VIDEO_EP_OUT, &buf, K_NO_WAIT) == 0) {
			if (buf == ov5640_held) {
				ov5640_held = NULL;
			}
			video_buffer_release(buf);
			buf = NULL;
		}
	}

release_held:
	if (ov5640_held != NULL) {
		video_buffer_release(ov5640_held);
		ov5640_held = NULL;
	}
}

/* Colour bars are vertical. Samples across the middle row must not all match,
 * and a frame that is still the memset(0) from the test is a miss.
 */
static void assert_colorbar_frame(const struct video_buffer *buf, uint32_t width,
				  uint32_t pitch, uint32_t height)
{
	const uint8_t *bytes = buf->buffer;
	uint16_t sample[4];
	unsigned int unique = 0;
	bool nonzero = false;
	unsigned int i;
	unsigned int j;

	for (i = 0; i < buf->bytesused; i++) {
		if (bytes[i] != 0) {
			nonzero = true;
			break;
		}
	}
	zassert_true(nonzero, "color-bar frame is still all zeros");

	for (i = 0; i < ARRAY_SIZE(sample); i++) {
		uint32_t x = (width * ((2 * i) + 1)) / 8;
		uint32_t y = height / 2;

		memcpy(&sample[i], bytes + (y * pitch) + (x * 2), sizeof(sample[i]));
	}

	for (i = 0; i < ARRAY_SIZE(sample); i++) {
		bool seen = false;

		for (j = 0; j < i; j++) {
			if (sample[j] == sample[i]) {
				seen = true;
				break;
			}
		}
		if (!seen) {
			unique++;
		}
	}
	zassert_true(unique >= 2,
		     "color-bar samples do not differ: 0x%04x 0x%04x 0x%04x 0x%04x",
		     sample[0], sample[1], sample[2], sample[3]);
}

/* -------------------------------------------------------------------------
 * set_format + get_format for every DVP RGB565 mode
 * -------------------------------------------------------------------------
 */
ZTEST(ov5640_testcase, ov5640_set_format_all_dvp_modes)
{
	struct video_caps caps;
	struct video_format fmt = { 0 };
	struct video_format got = { 0 };
	int i = 0;
	int ret;
	int n_modes = 0;

	ret = video_get_caps(video, CAPTURE_EP, &caps);
	zassert_equal(ret, 0, "video_get_caps failed: %d", ret);

	while (caps.format_caps[i].pixelformat) {
		const struct video_format_cap *fcap = &caps.format_caps[i];

		if (fcap->pixelformat != PIPELINE_FORMAT) {
			i++;
			continue;
		}

		fmt.pixelformat = fcap->pixelformat;
		fmt.width = fcap->width_min;
		fmt.height = fcap->height_min;
		fmt.pitch = fourcc_to_pitch(fmt.pixelformat, fmt.width);

		ret = video_set_capture_format(video, &fmt);
		zassert_equal(ret, 0,
			"set_format failed for %ux%u: %d",
			fmt.width, fmt.height, ret);

		memset(&got, 0, sizeof(got));
		ret = video_get_format(video, VIDEO_EP_OUT, &got);
		zassert_equal(ret, 0,
			"get_format failed after %ux%u: %d",
			fmt.width, fmt.height, ret);
		zassert_equal(got.pixelformat, fmt.pixelformat,
			"pixelformat mismatch at %ux%u", fmt.width, fmt.height);
		zassert_equal(got.width, fmt.width,
			"width mismatch: got %u want %u", got.width, fmt.width);
		zassert_equal(got.height, fmt.height,
			"height mismatch: got %u want %u",
			got.height, fmt.height);
		zassert_equal(got.pitch, fmt.pitch,
			"pitch mismatch: got %u want %u", got.pitch, fmt.pitch);

		TC_PRINT("ov5640_set_format_all_dvp_modes: %ux%u pitch=%u OK\n",
			got.width, got.height, got.pitch);
		n_modes++;
		i++;
	}

	zassert_true(n_modes >= 1, "No DVP RGB565 modes found in caps");
	ret = ov5640_restore_default_fmt();
	zassert_equal(ret, 0, "restore default %ux%u failed: %d",
		SENSOR_WIDTH, SENSOR_HEIGHT, ret);
}

/* -------------------------------------------------------------------------
 * HFLIP / VFLIP — leave both off so later capture tests are not mirrored
 * -------------------------------------------------------------------------
 */
ZTEST(ov5640_testcase, ov5640_ctrl_hflip_vflip)
{
	int ret;

	ret = video_set_ctrl(ov5640_dev, VIDEO_CID_HFLIP, (void *)1);
	zassert_equal(ret, 0, "HFLIP on failed: %d", ret);

	ret = video_set_ctrl(ov5640_dev, VIDEO_CID_VFLIP, (void *)1);
	zassert_equal(ret, 0, "VFLIP on failed: %d", ret);

	ret = video_set_ctrl(ov5640_dev, VIDEO_CID_HFLIP, (void *)0);
	zassert_equal(ret, 0, "HFLIP off failed: %d", ret);

	ret = video_set_ctrl(ov5640_dev, VIDEO_CID_VFLIP, (void *)0);
	zassert_equal(ret, 0, "VFLIP off failed: %d", ret);

	TC_PRINT("ov5640_ctrl_hflip_vflip: on/off OK\n");
}

/* -------------------------------------------------------------------------
 * TEST_PATTERN 0..4 accepted, 5 rejected; one color-bar frame at QQVGA
 * -------------------------------------------------------------------------
 */
ZTEST(ov5640_testcase, ov5640_ctrl_test_pattern)
{
	struct video_format fmt = { 0 };
	struct video_buffer *vbuf = NULL;
	struct video_buffer *captured = NULL;
	size_t bsize;
	int ret;
	int pat;

	for (pat = 0; pat <= 4; pat++) {
		ret = video_set_ctrl(ov5640_dev, VIDEO_CID_TEST_PATTERN,
				     (void *)(uintptr_t)pat);
		zassert_equal(ret, 0, "TEST_PATTERN %d failed: %d", pat, ret);
	}

	ret = video_set_ctrl(ov5640_dev, VIDEO_CID_TEST_PATTERN, (void *)5);
	zassert_equal(ret, -EINVAL,
		"TEST_PATTERN 5 expected -EINVAL, got %d", ret);

	ret = ov5640_restore_default_fmt();
	zassert_equal(ret, 0, "restore default fmt failed: %d", ret);

	ret = video_set_ctrl(ov5640_dev, VIDEO_CID_TEST_PATTERN, (void *)1);
	zassert_equal(ret, 0, "TEST_PATTERN color-bar failed: %d", ret);

	fmt.pixelformat = PIPELINE_FORMAT;
	fmt.width = SENSOR_WIDTH;
	fmt.height = SENSOR_HEIGHT;
	fmt.pitch = fourcc_to_pitch(fmt.pixelformat, fmt.width);
	bsize = fmt.pitch * fmt.height;

	vbuf = video_buffer_aligned_alloc(bsize, CONFIG_VIDEO_BUFFER_POOL_ALIGN,
					  K_NO_WAIT);
	zassert_not_null(vbuf, "alloc failed for test-pattern frame");
	ov5640_held = vbuf;
	memset(vbuf->buffer, 0, bsize);

	ret = video_enqueue(video, VIDEO_EP_OUT, vbuf);
	zassert_equal(ret, 0, "enqueue failed: %d", ret);

	ret = video_stream_start(video);
	zassert_equal(ret, 0, "stream_start failed: %d", ret);

	ret = video_dequeue(video, VIDEO_EP_OUT, &captured, K_MSEC(2000));
	zassert_equal(ret, 0, "dequeue test-pattern frame failed: %d", ret);
	zassert_not_null(captured, "captured buffer is NULL");
	zassert_equal(captured->bytesused, bsize, "bytesused %u != bsize %u",
		captured->bytesused, (uint32_t)bsize);
	assert_colorbar_frame(captured, fmt.width, fmt.pitch, fmt.height);
	TC_PRINT("ov5640_ctrl_test_pattern: color-bar frame bytesused=%u\n",
		captured->bytesused);

	ret = video_stream_stop(video);
	zassert_equal(ret, 0, "stream_stop failed: %d", ret);
	k_msleep(20);

	video_flush(video, VIDEO_EP_OUT, true);
	if (captured) {
		video_buffer_release(captured);
		if (ov5640_held == captured) {
			ov5640_held = NULL;
		}
		captured = NULL;
	}
	while (video_dequeue(video, VIDEO_EP_OUT, &captured, K_NO_WAIT) == 0) {
		if (ov5640_held == captured) {
			ov5640_held = NULL;
		}
		video_buffer_release(captured);
		captured = NULL;
	}

	ret = video_set_ctrl(ov5640_dev, VIDEO_CID_TEST_PATTERN, (void *)0);
	zassert_equal(ret, 0, "TEST_PATTERN off failed: %d", ret);
}

/* -------------------------------------------------------------------------
 * Out-of-range / unknown CIDs — issued on the sensor so errno is real
 * -------------------------------------------------------------------------
 */
ZTEST(ov5640_testcase, ov5640_ctrl_range_reject)
{
	int ret;

	ret = video_set_ctrl(ov5640_dev, VIDEO_CID_HUE, (void *)361);
	zassert_equal(ret, -EINVAL, "HUE 361 expected -EINVAL, got %d", ret);

	ret = video_set_ctrl(ov5640_dev, VIDEO_CID_SATURATION, (void *)256);
	zassert_equal(ret, -EINVAL,
		"SATURATION 256 expected -EINVAL, got %d", ret);

	ret = video_set_ctrl(ov5640_dev, VIDEO_CID_BRIGHTNESS, (void *)256);
	zassert_equal(ret, -EINVAL,
		"BRIGHTNESS 256 expected -EINVAL, got %d", ret);

	ret = video_set_ctrl(ov5640_dev, VIDEO_CID_EXPOSURE, (void *)1);
	zassert_equal(ret, -ENOTSUP,
		"unknown CID expected -ENOTSUP, got %d", ret);

	ret = video_set_ctrl(ov5640_dev, VIDEO_CID_POWER_LINE_FREQUENCY,
			     (void *)VIDEO_CID_POWER_LINE_FREQUENCY_DISABLED);
	zassert_equal(ret, -EINVAL,
		"POWER_LINE DISABLED expected -EINVAL, got %d", ret);

	ret = video_set_ctrl(ov5640_dev, VIDEO_CID_POWER_LINE_FREQUENCY,
			(void *)99);
	zassert_equal(ret, -EINVAL,
		"POWER_LINE 99 expected -EINVAL, got %d", ret);

	TC_PRINT("ov5640_ctrl_range_reject: OK\n");
}

/* -------------------------------------------------------------------------
 * In-range image-adjust CIDs (I2C happy path). Hue is skipped: it uses
 * libm/double. Restore AEC auto (gain 0) and AUTO flicker at the end.
 * -------------------------------------------------------------------------
 */
ZTEST(ov5640_testcase, ov5640_ctrl_image_adjust)
{
	int ret;

	ret = video_set_ctrl(ov5640_dev, VIDEO_CID_BRIGHTNESS, (void *)16);
	zassert_equal(ret, 0, "BRIGHTNESS 16 failed: %d", ret);

	ret = video_set_ctrl(ov5640_dev, VIDEO_CID_CONTRAST, (void *)16);
	zassert_equal(ret, 0, "CONTRAST 16 failed: %d", ret);

	ret = video_set_ctrl(ov5640_dev, VIDEO_CID_SATURATION, (void *)64);
	zassert_equal(ret, 0, "SATURATION 64 failed: %d", ret);

	ret = video_set_ctrl(ov5640_dev, VIDEO_CID_GAIN, (void *)0);
	zassert_equal(ret, 0, "GAIN 0 (AEC auto) failed: %d", ret);

	ret = video_set_ctrl(ov5640_dev, VIDEO_CID_POWER_LINE_FREQUENCY,
			     (void *)VIDEO_CID_POWER_LINE_FREQUENCY_50HZ);
	zassert_equal(ret, 0, "POWER_LINE 50Hz failed: %d", ret);

	ret = video_set_ctrl(ov5640_dev, VIDEO_CID_POWER_LINE_FREQUENCY,
			     (void *)VIDEO_CID_POWER_LINE_FREQUENCY_60HZ);
	zassert_equal(ret, 0, "POWER_LINE 60Hz failed: %d", ret);

	ret = video_set_ctrl(ov5640_dev, VIDEO_CID_POWER_LINE_FREQUENCY,
			     (void *)VIDEO_CID_POWER_LINE_FREQUENCY_AUTO);
	zassert_equal(ret, 0, "POWER_LINE AUTO failed: %d", ret);

	ov5640_restore_ctrls();
	TC_PRINT("ov5640_ctrl_image_adjust: OK\n");
}

/* -------------------------------------------------------------------------
 * DVP does not advertise YUYV or 640x480 — sensor must reject them.
 * Issued on ov5640 so a failed set_fmt cannot pollute alif,cam's cached fmt.
 * -------------------------------------------------------------------------
 */
ZTEST(ov5640_testcase, ov5640_set_format_unsupported)
{
	struct video_format fmt = {
		.pixelformat = VIDEO_PIX_FMT_YUYV,
		.width = SENSOR_WIDTH,
		.height = SENSOR_HEIGHT,
		.pitch = SENSOR_WIDTH * 2,
	};
	int ret;

	ret = video_set_format(ov5640_dev, VIDEO_EP_OUT, &fmt);
	zassert_equal(ret, -ENOTSUP,
		"YUYV on DVP expected -ENOTSUP, got %d", ret);

	fmt.pixelformat = VIDEO_PIX_FMT_RGB565;
	fmt.width = 640;
	fmt.height = 480;
	fmt.pitch = 1280;
	ret = video_set_format(ov5640_dev, VIDEO_EP_OUT, &fmt);
	zassert_equal(ret, -ENOTSUP,
		"640x480 RGB565 on DVP expected -ENOTSUP, got %d", ret);

	TC_PRINT("ov5640_set_format_unsupported: YUYV and 640x480 rejected\n");
}

/* -------------------------------------------------------------------------
 * Frame-interval API is CSI-2 only; DVP returns -ENOTSUP on the sensor.
 * alif,cam does not implement frmival, so the CAM node returns -ENOSYS.
 * -------------------------------------------------------------------------
 */
ZTEST(ov5640_testcase, ov5640_frmival_dvp_enotsup)
{
	struct video_frmival ival = {
		.numerator = 1,
		.denominator = 30,
	};
	struct video_format fmt = {
		.pixelformat = PIPELINE_FORMAT,
		.width = SENSOR_WIDTH,
		.height = SENSOR_HEIGHT,
		.pitch = fourcc_to_pitch(PIPELINE_FORMAT, SENSOR_WIDTH),
	};
	struct video_frmival_enum fie = {
		.index = 0,
		.format = &fmt,
	};
	int ret;

	ret = video_get_frmival(ov5640_dev, VIDEO_EP_OUT, &ival);
	zassert_equal(ret, -ENOTSUP,
		"get_frmival on DVP OV5640 expected -ENOTSUP, got %d", ret);

	ret = video_set_frmival(ov5640_dev, VIDEO_EP_OUT, &ival);
	zassert_equal(ret, -ENOTSUP,
		"set_frmival on DVP OV5640 expected -ENOTSUP, got %d", ret);

	ret = video_enum_frmival(ov5640_dev, VIDEO_EP_OUT, &fie);
	zassert_equal(ret, -ENOTSUP,
		"enum_frmival on DVP OV5640 expected -ENOTSUP, got %d", ret);

	ret = video_get_frmival(video, VIDEO_EP_OUT, &ival);
	zassert_equal(ret, -ENOSYS,
		"get_frmival on alif,cam expected -ENOSYS, got %d", ret);

	TC_PRINT("ov5640_frmival_dvp_enotsup: sensor -ENOTSUP, CAM -ENOSYS\n");
}

ZTEST_SUITE(ov5640_testcase, NULL, ov5640_suite_setup, manual_suite_before,
	    ov5640_test_after, ov5640_suite_teardown);
```
